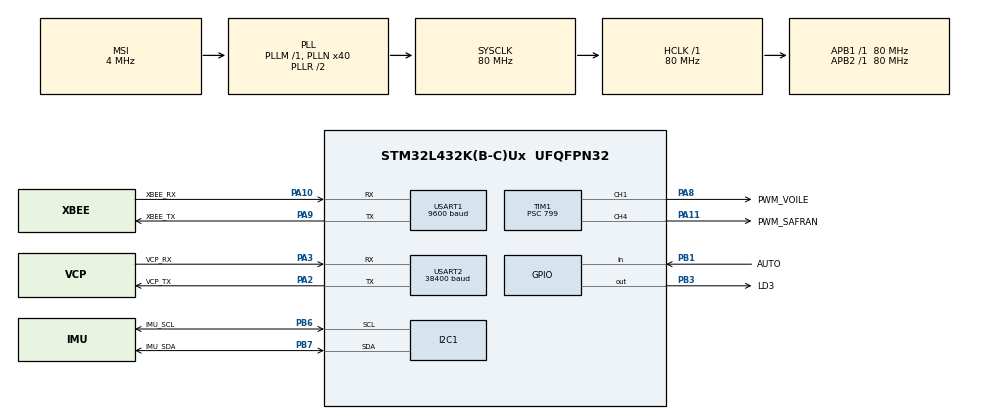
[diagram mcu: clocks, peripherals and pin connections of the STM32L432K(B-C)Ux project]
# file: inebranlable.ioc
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FREERTOS.Mutexes01=traceMutex,Static,traceMutexControlBlock
FREERTOS.Tasks01=blinkTask,8,1024,StartBlinkTask,Default,NULL,Static,blinkTaskBuffer,blinkTaskControlBlock;PWMTask,24,1024,startPWMTask,As external,NULL,Static,PWMTaskBuffer,PWMTaskControlBlock;xbeeTask,32,1024,StartXbeeTask,As external,NULL,Static,XbeeTaskBuffer,XbeeTaskControlBlock;gpsTask,24,1024,StartGpsTask,As external,NULL,Static,gpsTaskBuffer,gpsTaskControlBlock;imuTask,24,1024,StartImuTask,As external,NULL,Static,imuTaskBuffer,imuTaskControlBlock;navTask,40,1024,StartNavTask,Default,NULL,Static,navTaskBuffer,navTaskControlBlock;windSensorTask,24,1024,StartWindSensorTask,As external,NULL,Static,windSensorTaskBuffer,windSensorTaskControlBlock
FREERTOS.configUSE_NEWLIB_REENTRANT=1
I2C1.Timing=0x10909CEC
Mcu.Family=STM32L4
Mcu.Name=STM32L432K(B-C)Ux
Mcu.Package=UFQFPN32
NVIC.PriorityGroup=NVIC_PRIORITYGROUP_4
NVIC.TIM6_DAC_IRQn=true\:15\:0\:false\:false\:true\:false\:false\:true\:true
NVIC.TimeBase=TIM6_DAC_IRQn
NVIC.TimeBaseIP=TIM6
NVIC.USART1_IRQn=true\:5\:0\:false\:false\:true\:true\:true\:true\:true
NVIC.USART2_IRQn=true\:5\:0\:false\:false\:true\:true\:true\:true\:true
PA10.GPIO_Label=XBEE_RX
PA10.Mode=Asynchronous
PA10.Signal=USART1_RX
PA11.GPIO_Label=PWM_SAFRAN
PA11.Signal=S_TIM1_CH4
PA13\ (JTMS-SWDIO).GPIO_Label=SWDIO
PA13\ (JTMS-SWDIO).Mode=Serial_Wire
PA13\ (JTMS-SWDIO).Signal=SYS_JTMS-SWDIO
PA14\ (JTCK-SWCLK).GPIO_Label=SWCLK
PA14\ (JTCK-SWCLK).Mode=Serial_Wire
PA14\ (JTCK-SWCLK).Signal=SYS_JTCK-SWCLK
PA2.GPIO_Label=VCP_TX
PA2.Mode=Asynchronous
PA2.Signal=USART2_TX
PA3.GPIO_Label=VCP_RX
PA3.Mode=Asynchronous
PA3.Signal=USART2_RX
PA8.GPIO_Label=PWM_VOILE
PA8.Signal=S_TIM1_CH1
PA9.GPIO_Label=XBEE_TX
PA9.Mode=Asynchronous
PA9.Signal=USART1_TX
PB1.GPIO_Label=AUTO
PB1.Signal=GPIO_Input
PB3\ (JTDO-TRACESWO).GPIO_Label=LD3
PB3\ (JTDO-TRACESWO).Signal=GPIO_Output
PB6.GPIO_Label=IMU_SCL
PB6.Mode=I2C
PB6.Signal=I2C1_SCL
PB7.GPIO_Label=IMU_SDA
PB7.Mode=I2C
PB7.Signal=I2C1_SDA
PC14-OSC32_IN\ (PC14).Mode=LSE-External-Oscillator
PC14-OSC32_IN\ (PC14).Signal=RCC_OSC32_IN
PC15-OSC32_OUT\ (PC15).Mode=LSE-External-Oscillator
PC15-OSC32_OUT\ (PC15).Signal=RCC_OSC32_OUT
ProjectManager.HeapSize=0x200
ProjectManager.StackSize=0x400
ProjectManager.TargetToolchain=STM32CubeIDE
RCC.AHBFreq_Value=80000000
RCC.APB1Freq_Value=80000000
RCC.APB1TimFreq_Value=80000000
RCC.APB2Freq_Value=80000000
RCC.APB2TimFreq_Value=80000000
RCC.CortexFreq_Value=80000000
RCC.HCLKFreq_Value=80000000
RCC.HSE_VALUE=8000000
RCC.HSI16_VALUE=16000000
RCC.HSI48_VALUE=48000000
RCC.HSI_VALUE=16000000
RCC.MSI_VALUE=4000000
RCC.PLLMUL=RCC_PLLMUL_4
RCC.PLLN=40
RCC.SYSCLKFreq_VALUE=80000000
RCC.SYSCLKSource=RCC_SYSCLKSOURCE_PLLCLK
RCC.VCOOutputFreq_Value=160000000
SH.S_TIM1_CH1.0=TIM1_CH1,PWM Generation1 CH1
SH.S_TIM1_CH4.0=TIM1_CH4,PWM Generation4 CH4
TIM1.Channel-PWM\ Generation1\ CH1=TIM_CHANNEL_1
TIM1.Channel-PWM\ Generation4\ CH4=TIM_CHANNEL_4
TIM1.Period=1999
TIM1.Prescaler=799
USART1.BaudRate=9600
USART1.VirtualMode-Asynchronous=VM_ASYNC
USART2.BaudRate=38400
USART2.VirtualMode-Asynchronous=VM_ASYNC
VP_FREERTOS_VS_CMSIS_V2.Mode=CMSIS_V2
VP_SYS_VS_tim6.Mode=TIM6
board=NUCLEO-L432KC

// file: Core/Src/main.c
/* USER CODE BEGIN Header */
/**
  ******************************************************************************
  * @file           : main.c
  * @brief          : Main program body
  ******************************************************************************
  * @attention
  *
  * Copyright (c) 2023 STMicroelectronics.
  * All rights reserved.
  *
  * This software is licensed under terms that can be found in the LICENSE file
  * in the root directory of this software component.
  * If no LICENSE file comes with this software, it is provided AS-IS.
  *
  ******************************************************************************
  */
/* USER CODE END Header */
#include "main.h"
#include "cmsis_os.h"
#include "i2c.h"
#include "tim.h"
#include "usart.h"
#include "gpio.h"

/* USER CODE BEGIN Includes */
#include "trace/trace.h"
#include "system/system.h"
/* USER CODE END Includes */

void SystemClock_Config(void);
void MX_FREERTOS_Init(void);

int main(void)
{

  /* MCU Configuration--------------------------------------------------------*/

  /* Reset of all peripherals, Initializes the Flash interface and the Systick. */
  HAL_Init();

  /* Configure the system clock */
  SystemClock_Config();

  /* Initialize all configured peripherals */
  MX_GPIO_Init();
  MX_USART2_UART_Init();
  MX_USART1_UART_Init();
  MX_I2C1_Init();
  MX_TIM1_Init();
  /* USER CODE BEGIN 2 */
//  PRINT("\n/--- Startup ---/\n");
  /* USER CODE END 2 */

  /* Init scheduler */
  osKernelInitialize();  /* Call init function for freertos objects (in freertos.c) */
  MX_FREERTOS_Init();

  /* Start scheduler */
  osKernelStart();

  /* We should never get here as control is now taken by the scheduler */
  /* Infinite loop */
  while (1)
  {

  }
}

void SystemClock_Config(void)
{
  RCC_OscInitTypeDef RCC_OscInitStruct = {0};
  RCC_ClkInitTypeDef RCC_ClkInitStruct = {0};

  /** Configure the main internal regulator output voltage
  */
  if (HAL_PWREx_ControlVoltageScaling(PWR_REGULATOR_VOLTAGE_SCALE1) != HAL_OK)
  {
    Error_Handler();
  }

  /** Configure LSE Drive Capability
  */
  HAL_PWR_EnableBkUpAccess();
  __HAL_RCC_LSEDRIVE_CONFIG(RCC_LSEDRIVE_LOW);

  /** Initializes the RCC Oscillators according to the specified parameters
  * in the RCC_OscInitTypeDef structure.
  */
  RCC_OscInitStruct.OscillatorType = RCC_OSCILLATORTYPE_LSE|RCC_OSCILLATORTYPE_MSI;
  RCC_OscInitStruct.LSEState = RCC_LSE_ON;
  RCC_OscInitStruct.MSIState = RCC_MSI_ON;
  RCC_OscInitStruct.MSICalibrationValue = 0;
  RCC_OscInitStruct.MSIClockRange = RCC_MSIRANGE_6;
  RCC_OscInitStruct.PLL.PLLState = RCC_PLL_ON;
  RCC_OscInitStruct.PLL.PLLSource = RCC_PLLSOURCE_MSI;
  RCC_OscInitStruct.PLL.PLLM = 1;
  RCC_OscInitStruct.PLL.PLLN = 40;
  RCC_OscInitStruct.PLL.PLLP = RCC_PLLP_DIV7;
  RCC_OscInitStruct.PLL.PLLQ = RCC_PLLQ_DIV2;
  RCC_OscInitStruct.PLL.PLLR = RCC_PLLR_DIV2;
  if (HAL_RCC_OscConfig(&RCC_OscInitStruct) != HAL_OK)
  {
    Error_Handler();
  }

  /** Initializes the CPU, AHB and APB buses clocks
  */
  RCC_ClkInitStruct.ClockType = RCC_CLOCKTYPE_HCLK|RCC_CLOCKTYPE_SYSCLK
                              |RCC_CLOCKTYPE_PCLK1|RCC_CLOCKTYPE_PCLK2;
  RCC_ClkInitStruct.SYSCLKSource = RCC_SYSCLKSOURCE_PLLCLK;
  RCC_ClkInitStruct.AHBCLKDivider = RCC_SYSCLK_DIV1;
  RCC_ClkInitStruct.APB1CLKDivider = RCC_HCLK_DIV1;
  RCC_ClkInitStruct.APB2CLKDivider = RCC_HCLK_DIV1;

  if (HAL_RCC_ClockConfig(&RCC_ClkInitStruct, FLASH_LATENCY_4) != HAL_OK)
  {
    Error_Handler();
  }

  /** Enable MSI Auto calibration
  */
  HAL_RCCEx_EnableMSIPLLMode();
}

void HAL_TIM_PeriodElapsedCallback(TIM_HandleTypeDef *htim)
{
  if (htim->Instance == TIM6) {
    HAL_IncTick();
  }
}

void Error_Handler(void)
{
  __disable_irq();
  while (1)
  {
  }
}

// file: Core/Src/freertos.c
/* USER CODE BEGIN Header */
/**
  ******************************************************************************
  * File Name          : freertos.c
  * Description        : Code for freertos applications
  ******************************************************************************
  * @attention
  *
  * Copyright (c) 2023 STMicroelectronics.
  * All rights reserved.
  *
  * This software is licensed under terms that can be found in the LICENSE file
  * in the root directory of this software component.
  * If no LICENSE file comes with this software, it is provided AS-IS.
  *
  ******************************************************************************
  */
/* USER CODE END Header */

#include "FreeRTOS.h"
#include "task.h"
#include "main.h"
#include "cmsis_os.h"

/* USER CODE BEGIN Includes */
#include <cmd_servo/cmd_servo.h>
#include <log/log.h>
#include <trace/trace.h>
#include <imu/imu.h>
#include <gps/gps_zed_f9p.h>
#include <system/system.h>
#include <windSensor/windSensor.h>
#include <navigation/navigation.h>
/* USER CODE END Includes */

typedef StaticTask_t osStaticThreadDef_t;
typedef StaticSemaphore_t osStaticMutexDef_t;

/* USER CODE BEGIN PD */
#define DEFAULT_PWM_VALUE_SAFRAN  153
#define DEFAULT_PWM_VALUE_VOILE   150
/* USER CODE END PD */

/* Definitions for blinkTask */
osThreadId_t blinkTaskHandle;
uint32_t blinkTaskBuffer[ 1024 ];
osStaticThreadDef_t blinkTaskControlBlock;
const osThreadAttr_t blinkTask_attributes = {
  .name = "blinkTask",
  .cb_mem = &blinkTaskControlBlock,
  .cb_size = sizeof(blinkTaskControlBlock),
  .stack_mem = &blinkTaskBuffer[0],
  .stack_size = sizeof(blinkTaskBuffer),
  .priority = (osPriority_t) osPriorityLow,
};
/* Definitions for PWMTask */
osThreadId_t PWMTaskHandle;
uint32_t PWMTaskBuffer[ 1024 ];
osStaticThreadDef_t PWMTaskControlBlock;
const osThreadAttr_t PWMTask_attributes = {
  .name = "PWMTask",
  .cb_mem = &PWMTaskControlBlock,
  .cb_size = sizeof(PWMTaskControlBlock),
  .stack_mem = &PWMTaskBuffer[0],
  .stack_size = sizeof(PWMTaskBuffer),
  .priority = (osPriority_t) osPriorityNormal,
};
/* Definitions for xbeeTask */
osThreadId_t xbeeTaskHandle;
uint32_t XbeeTaskBuffer[ 1024 ];
osStaticThreadDef_t XbeeTaskControlBlock;
const osThreadAttr_t xbeeTask_attributes = {
  .name = "xbeeTask",
  .cb_mem = &XbeeTaskControlBlock,
  .cb_size = sizeof(XbeeTaskControlBlock),
  .stack_mem = &XbeeTaskBuffer[0],
  .stack_size = sizeof(XbeeTaskBuffer),
  .priority = (osPriority_t) osPriorityAboveNormal,
};
/* Definitions for gpsTask */
osThreadId_t gpsTaskHandle;
uint32_t gpsTaskBuffer[ 1024 ];
osStaticThreadDef_t gpsTaskControlBlock;
const osThreadAttr_t gpsTask_attributes = {
  .name = "gpsTask",
  .cb_mem = &gpsTaskControlBlock,
  .cb_size = sizeof(gpsTaskControlBlock),
  .stack_mem = &gpsTaskBuffer[0],
  .stack_size = sizeof(gpsTaskBuffer),
  .priority = (osPriority_t) osPriorityNormal,
};
/* Definitions for imuTask */
osThreadId_t imuTaskHandle;
uint32_t imuTaskBuffer[ 1024 ];
osStaticThreadDef_t imuTaskControlBlock;
const osThreadAttr_t imuTask_attributes = {
  .name = "imuTask",
  .cb_mem = &imuTaskControlBlock,
  .cb_size = sizeof(imuTaskControlBlock),
  .stack_mem = &imuTaskBuffer[0],
  .stack_size = sizeof(imuTaskBuffer),
  .priority = (osPriority_t) osPriorityNormal,
};
/* Definitions for navTask */
osThreadId_t navTaskHandle;
uint32_t navTaskBuffer[ 1024 ];
osStaticThreadDef_t navTaskControlBlock;
const osThreadAttr_t navTask_attributes = {
  .name = "navTask",
  .cb_mem = &navTaskControlBlock,
  .cb_size = sizeof(navTaskControlBlock),
  .stack_mem = &navTaskBuffer[0],
  .stack_size = sizeof(navTaskBuffer),
  .priority = (osPriority_t) osPriorityHigh,
};
/* Definitions for windSensorTask */
osThreadId_t windSensorTaskHandle;
uint32_t windSensorTaskBuffer[ 1024 ];
osStaticThreadDef_t windSensorTaskControlBlock;
const osThreadAttr_t windSensorTask_attributes = {
  .name = "windSensorTask",
  .cb_mem = &windSensorTaskControlBlock,
  .cb_size = sizeof(windSensorTaskControlBlock),
  .stack_mem = &windSensorTaskBuffer[0],
  .stack_size = sizeof(windSensorTaskBuffer),
  .priority = (osPriority_t) osPriorityNormal,
};
/* Definitions for traceMutex */
osMutexId_t traceMutexHandle;
osStaticMutexDef_t traceMutexControlBlock;
const osMutexAttr_t traceMutex_attributes = {
  .name = "traceMutex",
  .cb_mem = &traceMutexControlBlock,
  .cb_size = sizeof(traceMutexControlBlock),
};

/* USER CODE BEGIN FunctionPrototypes */
void navTask_loop(void);
void demo_loop(void);
void debug_loop(void);
/* USER CODE END FunctionPrototypes */

void StartBlinkTask(void *argument);
extern void startPWMTask(void *argument);
extern void StartXbeeTask(void *argument);
extern void StartGpsTask(void *argument);
extern void StartImuTask(void *argument);
void StartNavTask(void *argument);
extern void StartWindSensorTask(void *argument);

void MX_FREERTOS_Init(void); /* (MISRA C 2004 rule 8.1) */

void MX_FREERTOS_Init(void) {
  /* Create the mutex(es) */
  /* creation of traceMutex */
  traceMutexHandle = osMutexNew(&traceMutex_attributes);

  /* Create the thread(s) */
  /* creation of blinkTask */
  blinkTaskHandle = osThreadNew(StartBlinkTask, NULL, &blinkTask_attributes);

  /* creation of PWMTask */
  PWMTaskHandle = osThreadNew(startPWMTask, NULL, &PWMTask_attributes);

  /* creation of xbeeTask */
  xbeeTaskHandle = osThreadNew(StartXbeeTask, NULL, &xbeeTask_attributes);

  /* creation of gpsTask */
  gpsTaskHandle = osThreadNew(StartGpsTask, NULL, &gpsTask_attributes);

  /* creation of imuTask */
  imuTaskHandle = osThreadNew(StartImuTask, NULL, &imuTask_attributes);

  /* creation of navTask */
  navTaskHandle = osThreadNew(StartNavTask, NULL, &navTask_attributes);

  /* creation of windSensorTask */
  windSensorTaskHandle = osThreadNew(StartWindSensorTask, NULL, &windSensorTask_attributes);

}

void StartBlinkTask(void *argument)
{
  /* USER CODE BEGIN StartBlinkTask */
	/* Infinite loop */
  for(;;)
  {
	HAL_GPIO_TogglePin(LD3_GPIO_Port, LD3_Pin);
	osDelay(100);
	HAL_GPIO_TogglePin(LD3_GPIO_Port, LD3_Pin);
	osDelay(100);
	HAL_GPIO_TogglePin(LD3_GPIO_Port, LD3_Pin);
	osDelay(100);
	HAL_GPIO_TogglePin(LD3_GPIO_Port, LD3_Pin);
	osDelay(1000);
  }
  /* USER CODE END StartBlinkTask */
}

void StartNavTask(void *argument)
{
  /* USER CODE BEGIN StartNavTask */
	while( !sys_testInitFlag(SYS_MASK_XBEE) && !sys_testInitFlag(SYS_MASK_IMU))
		osDelay(1000);
  /* Infinite loop */
  for(;;)
  {
//	  debug_loop();
	  navTask_loop();
  }
  /* USER CODE END StartNavTask */
}

/* USER CODE BEGIN Application */
void navTask_loop(void)
{
	struct point bouee;
	bouee.x = 47.2524959;
	bouee.y = -1.3724528;

	struct point mat;
	mat.x = 0.0;
	mat.y = 0.0;

	// Update time
	LOG_INFO("update (%ds)", HAL_GetTick() /1000 );

	// Log mode de nav
	static uint8_t navMode;
	uint8_t temp = HAL_GPIO_ReadPin(AUTO_GPIO_Port, AUTO_Pin);
	if(temp != navMode){
		// nav mode toggled
		navMode = temp;  // update val
		// Log
		if(navMode)
			LOG_INFO("Mode Auto ON");
		else {
			LOG_INFO("Mode Auto OFF");
			return;
		}
	}

	// Get IMU
	float yaw = (float) imu_getYaw();
	LOG_YAW(yaw);
	PRINT("Get imu OK");

	// Get Girouette
	float windAngle = getWindAngle();
	PRINT("Get girouette OK");

	// Get GPS
	mat.x = GPS_getLatitude();
	mat.y = GPS_getLongitude();
	PRINT("Get gps OK");

	// Navigation
	PRINT("Nav done");
	int strategie = decision_strategie(bouee, mat, windAngle, yaw);
	PRINT("  Strategie: %d", strategie);

	struct point navigation_result = navigation(bouee, mat, strategie, windAngle, yaw);
	PRINT("  Navigation:   - latitude: %f     - longitude: %f", navigation_result.x, navigation_result.y);

	struct cmd pilotage_result = pilotage(navigation_result, mat, windAngle, yaw);
	PRINT("  Commandes servos:   - Safran: %f     - Voile: %f", pilotage_result.safran, pilotage_result.voile);

	// Commandes servos
	set_PWM_value_safran(pilotage_result.safran);
	set_PWM_value_voile(pilotage_result.voile);
	LOG_SAFRAN(pilotage_result.safran);
	LOG_VOILE(pilotage_result.voile);
	PRINT("Commandes servo done");

	PRINT(" ");  //newline
	osDelay(1000 / portTICK_PERIOD_MS);
}

void demo_loop(void)
{
	struct point mat;
	mat.x = 0.0;
	mat.y = 0.0;

	// Update time
	LOG_INFO("Update (%ds)", HAL_GetTick() /1000 );

	// Get IMU
	float yaw = (float) imu_getYaw();
	PRINT("imu = %f", yaw);

	// Get Girouette
	float windAngle = getWindAngle();
	PRINT("girouette = %f", windAngle);

	// Get GPS
	mat.x = GPS_getLatitude();
	mat.y = GPS_getLongitude();
	PRINT("GPS:   - latitude: %f   - longitude: %f", mat.x, mat.y);

	// Commandes servos
	static bool toggle = 0;
	if(toggle){
		set_PWM_value_safran(-30);
		set_PWM_value_voile(0);
		LOG_SAFRAN(-30);
		LOG_VOILE(0);
	} else {
		set_PWM_value_voile(90);
		set_PWM_value_safran(30);
		LOG_SAFRAN(90);
		LOG_VOILE(30);
	}
	toggle = !toggle;

	// Log mode de nav
	static uint8_t navMode;
	uint8_t temp = HAL_GPIO_ReadPin(AUTO_GPIO_Port, AUTO_Pin);
	if(temp != navMode){
		// nav mode toggled
		navMode = temp;  // update val
		// Log
		if(navMode)
			LOG_INFO("Mode Auto ON");
		else
			LOG_INFO("Mode Auto OFF");
	}

	PRINT(" ");  //newline
	osDelay(3000 / portTICK_PERIOD_MS);
}

void debug_loop(){
	TIM1->CCR4 = 135;
	osDelay(3000 / portTICK_PERIOD_MS);
	TIM1->CCR4 = 140;
	osDelay(3000 / portTICK_PERIOD_MS);
	TIM1->CCR4 = 145;
	osDelay(3000 / portTICK_PERIOD_MS);
	TIM1->CCR4 = 150;
	osDelay(3000 / portTICK_PERIOD_MS);
	TIM1->CCR4 = 155;
	osDelay(3000 / portTICK_PERIOD_MS);
	TIM1->CCR4 = 160;
	osDelay(3000 / portTICK_PERIOD_MS);
	TIM1->CCR4 = 165;
	osDelay(3000 / portTICK_PERIOD_MS);
	TIM1->CCR4 = 170;
	osDelay(3000 / portTICK_PERIOD_MS);
	TIM1->CCR4 = 175;
	osDelay(3000 / portTICK_PERIOD_MS);
	TIM1->CCR4 = 180;
	osDelay(3000 / portTICK_PERIOD_MS);
	TIM1->CCR4 = 185;
	osDelay(3000 / portTICK_PERIOD_MS);
	TIM1->CCR4 = 190;
	osDelay(3000 / portTICK_PERIOD_MS);
	TIM1->CCR4 = 195;
	osDelay(3000 / portTICK_PERIOD_MS);
	TIM1->CCR4 = 200;
	osDelay(3000 / portTICK_PERIOD_MS);
}
/* USER CODE END Application */
